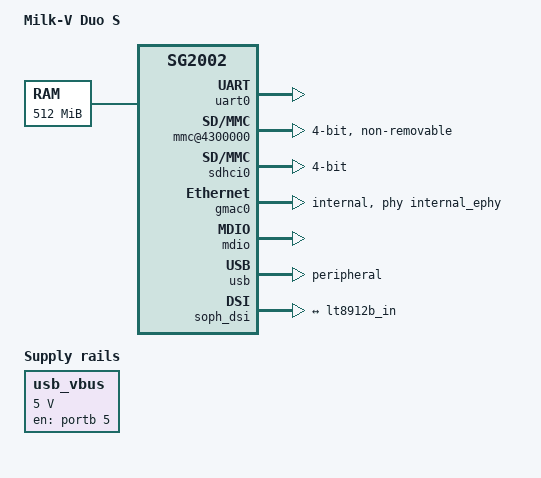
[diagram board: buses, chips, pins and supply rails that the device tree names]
// SPDX-License-Identifier: (GPL-2.0 OR MIT)
/*
 * Device tree for the Milk-V Duo S RISC-V core (Sophgo SG2000, T-Head C906).
 *
 * The SG2000 die is the SG2002 family (cv181x/cv180x) with an added ARM core.
 * From the C906 the SoC is identical to the SG2002. The mainline sg2002.dtsi
 * applies directly.
 *
 * Based on arch/riscv/boot/dts/sophgo/sg2002-licheerv-nano-b.dts.
 *
 * Nodes included (boot-focused):
 *   - uart0: console at ttyS0, 115200n8.
 *   - sdhci0: SD card root (NIXOS_RISCV label), 4-bit bus.
 *   - osc: 25 MHz oscillator (same as LicheeRV Nano).
 *   - memory: overrides the sg2002.dtsi 256MB with 512MB
 *     (0x80000000/0x20000000) to match the firmware memory map.
 *   - Ethernet/gmac0: SG2000 internal EPHY (phy-mode = "internal"). No external
 *     PHY. The dtsi sets phy-handle=<&internal_ephy> and phy-mode="internal";
 *     enable the MAC and MDIO. Mirrors mainline cv1812h-huashan-pi.dts.
 *   - USB: dr_mode = "peripheral" (the usbHost DTB: "host"). VBUS enable is GPIO portb
 *     pin 5 (USB_VBUS_EN); upstream omits the regulator node.
 *
 * Nodes omitted:
 *   - LEDs, GPIO buttons, camera/CSI: not in the mainline sg2002 dtsi.
 *
 * The CPU (thead,c906, rv64imafdc, sv39) comes from cv180x-cpus.dtsi via
 * sg2002.dtsi.
 */

/dts-v1/;
#include "sg2002.dtsi"
#include <dt-bindings/gpio/gpio.h>
#include <dt-bindings/clock/sophgo,cv1800.h>
#include "sg2000-module-01.dtsi"
#include "sg200x-vip.dtsi"
#include "nix-badge.dtsi"
#include "sg200x-riscv.dtsi"

/*
 * Pin IDs and the pin controller.
 *
 * The Duo S carries an SG2000 die, not the SG2002 that sg2002.dtsi assumes.
 * The two packages have different pin tables and are not interchangeable:
 *
 *   pinctrl-sg2002.h   65 QFN pins, flat indices,   no VIVO pads
 *   pinctrl-sg2000.h  110 BGA pins, row/col coords, has VIVO pads
 *
 * For example UART0_TX is 18 on SG2002 but PINPOS('M', 5) on SG2000.
 *
 * SPI3 drives the WS2812 LED ring. The SPI3 pads are VIVO_D5..D8, which the
 * SG2002 table cannot name. Bind the pin controller to the SG2000 driver (see
 * the &pinctrl compatible override below) and give every pinmux an SG2000
 * coordinate. These identifiers match the ARM DTS, so both cores name the pads
 * the same way.
 *
 * Define the pads here rather than include pinctrl-sg2000.h. sg2002.dtsi
 * already includes pinctrl-sg2002.h, and the two headers define the same PIN_*
 * names with different values.
 */
#define PINPOS(row, col)	((((row) - 'A' + 1) << 8) + ((col) - 1))

#define SG2000_UART0_TX		PINPOS('M', 5)
#define SG2000_UART0_RX		PINPOS('M', 4)

#define SG2000_SD0_CLK		PINPOS('L', 1)
#define SG2000_SD0_CMD		PINPOS('L', 3)
#define SG2000_SD0_D0		PINPOS('L', 2)
#define SG2000_SD0_D1		PINPOS('K', 3)
#define SG2000_SD0_D2		PINPOS('M', 2)
#define SG2000_SD0_D3		PINPOS('M', 1)
#define SG2000_SD0_CD		PINPOS('K', 2)

/* eMMC pads, pinctrl-sg2000.h row/col. */
#define SG2000_EMMC_CLK		PINPOS('R', 4)
#define SG2000_EMMC_CMD		PINPOS('R', 3)
#define SG2000_EMMC_DAT0		PINPOS('P', 2)
#define SG2000_EMMC_DAT1		PINPOS('R', 2)
#define SG2000_EMMC_DAT2		PINPOS('P', 3)
#define SG2000_EMMC_DAT3		PINPOS('P', 1)
#define SG2000_EMMC_RSTN		PINPOS('P', 4)

#define SG2000_SD1_CLK		PINPOS('G', 14)
#define SG2000_SD1_CMD		PINPOS('G', 15)
#define SG2000_SD1_D0		PINPOS('H', 15)
#define SG2000_SD1_D1		PINPOS('H', 14)
#define SG2000_SD1_D2		PINPOS('F', 14)
#define SG2000_SD1_D3		PINPOS('G', 13)

/* SPI3 on the 40-pin header: pin19 MOSI, pin21 MISO, pin23 SCK, pin24 CS */
#define SG2000_VIVO_D5		PINPOS('B', 10)
#define SG2000_VIVO_D6		PINPOS('C', 10)
#define SG2000_VIVO_D7		PINPOS('B', 11)
#define SG2000_VIVO_D8		PINPOS('C', 11)

/* SAO connector IIC1 (SDA/SCL) = pads VIVO_D4 / VIVO_D3 = PORTB 17/18. */
#define SG2000_VIVO_D3		PINPOS('A', 10)
#define SG2000_VIVO_D4		PINPOS('D', 10)
/* RJ45 EPHY LED pads (RTC domain): N12 green/LINK, P13 orange/speed. */
#define SG2000_PWR_WAKEUP0	PINPOS('N', 12)
#define SG2000_PWR_BUTTON1	PINPOS('P', 13)

/* HDMI bridge IIC2. Same pads as the ARM DTS names them. */
#define SG2000_IIC2_SCL		PINPOS('J', 13)
#define SG2000_IIC2_SDA		PINPOS('J', 14)

/ {
	model = "Milk-V Duo S";
	compatible = "milkv,duo-s", "sophgo,sg2002";

	aliases {
		serial0 = &uart0;
		/* The SPI core sets bus_num from of_alias_get_id(node, "spi")
		 * and falls back to dynamic numbering when no alias matches
		 * (drivers/spi/spi.c). Without this alias the only enabled
		 * controller takes bus 0 and spidev appears as /dev/spidev0.0. */
		spi3 = &spi3;
	};

	chosen {
		stdout-path = "serial0:115200n8";
	};

	/* Override the sg2002.dtsi 256MB with 512MB to match the firmware memmap. */
	memory@80000000 {
		device_type = "memory";
		reg = <0x80000000 0x20000000>;
	};
};

/* Rebind the pin controller to the SG2000 driver so the VIVO pads exist. The
 * node (pinctrl@3001000) comes from sg2002.dtsi as "sophgo,sg2002-pinctrl".
 * Both drivers use the same register block but a different pin table.
 * CONFIG_PINCTRL_SOPHGO_SG2000 must be enabled in the kernel. */
&pinctrl {
	compatible = "sophgo,sg2000-pinctrl";

	uart0_cfg: uart0-cfg {
		uart0-pins {
			pinmux = <PINMUX(SG2000_UART0_TX, 0)>,
				 <PINMUX(SG2000_UART0_RX, 0)>;
			bias-pull-up;
			drive-strength-microamp = <10800>;
			power-source = <3300>;
		};
	};

	/* SAO IIC1 for the SSD1306 OLED (see &i2c1 in nix-badge.dtsi). VIVO_D4/D3
	 * = PORTB 17/18, IIC1 = pinmux 5 (found empirically on the arm core: mux 5
	 * is the only value where 0x3c ACKs). bias-pull-up enables the pad input
	 * buffer so the controller senses SDA, and parallels the U12 TXS0104E pull. */
	i2c1_cfg: i2c1-cfg {
		i2c1-pins {
			pinmux = <PINMUX(SG2000_VIVO_D4, 5)>, /* SAO SDA, portb 17 */
				 <PINMUX(SG2000_VIVO_D3, 5)>; /* SAO SCL, portb 18 */
			bias-pull-up;
			power-source = <3300>;
		};
	};

	/* IIC2 reaches the LT8912B HDMI bridge at its reset-default mux 0.
	 * External I2C pull-ups live on the badge, so no bias-pull-up. This used
	 * to be ARM-only, the display stack now comes up on both cores, and
	 * without it the riscv side can drive DSI but never programs the bridge. */
	iic2_cfg: iic2-cfg {
		iic2-pins {
			pinmux = <PINMUX(SG2000_IIC2_SCL, 0)>, /* bridge SCL, J13 */
				 <PINMUX(SG2000_IIC2_SDA, 0)>; /* bridge SDA, J14 */
			power-source = <1800>;
		};
	};

	emmc_cfg: emmc-cfg {
		emmc-clk-pins {
			pinmux = <PINMUX(SG2000_EMMC_CLK, 0)>;
			bias-pull-up;
			drive-strength-microamp = <16100>;
			power-source = <3300>;
		};

		emmc-cmd-pins {
			pinmux = <PINMUX(SG2000_EMMC_CMD, 0)>;
			bias-pull-up;
			drive-strength-microamp = <10800>;
			power-source = <3300>;
		};

		emmc-data-pins {
			pinmux = <PINMUX(SG2000_EMMC_DAT0, 0)>,
				 <PINMUX(SG2000_EMMC_DAT1, 0)>,
				 <PINMUX(SG2000_EMMC_DAT2, 0)>,
				 <PINMUX(SG2000_EMMC_DAT3, 0)>;
			bias-pull-up;
			drive-strength-microamp = <10800>;
			power-source = <3300>;
		};

		emmc-rstn-pins {
			pinmux = <PINMUX(SG2000_EMMC_RSTN, 0)>;
			bias-pull-up;
			drive-strength-microamp = <10800>;
			power-source = <3300>;
		};
	};

	sdhci0_cfg: sdhci0-cfg {
		sdhci0-clk-pins {
			pinmux = <PINMUX(SG2000_SD0_CLK, 0)>;
			bias-pull-up;
			drive-strength-microamp = <16100>;
			power-source = <3300>;
		};

		sdhci0-cmd-pins {
			pinmux = <PINMUX(SG2000_SD0_CMD, 0)>;
			bias-pull-up;
			drive-strength-microamp = <10800>;
			power-source = <3300>;
		};

		sdhci0-data-pins {
			pinmux = <PINMUX(SG2000_SD0_D0, 0)>,
				 <PINMUX(SG2000_SD0_D1, 0)>,
				 <PINMUX(SG2000_SD0_D2, 0)>,
				 <PINMUX(SG2000_SD0_D3, 0)>;
			bias-pull-up;
			drive-strength-microamp = <10800>;
			power-source = <3300>;
		};

		sdhci0-cd-pins {
			pinmux = <PINMUX(SG2000_SD0_CD, 0)>;
			bias-pull-up;
			drive-strength-microamp = <10800>;
			power-source = <3300>;
		};
	};

	/* SPI3 for the WS2812 ring, mux 5 on the VIVO pads. Each subnode needs
	 * power-source: the mainline sophgo pinctrl rejects a pinmux subnode
	 * without it and fails pinctrl_bind_pins before dw_spi_mmio_probe runs. */
	spi3_cfg: spi3-cfg {
		/* Match the arm spi3_cfg exactly: no drive-strength (leave SCK/SDO at
		 * default, suits push-pull), bias-pull-up on SDI and the GPIO-mode CS so
		 * the CS pad does not float between transfers (a floating CS gates
		 * garbage into the WS2812 chain through the U10 and gate). */
		spi3-sck-pins {
			pinmux = <PINMUX(SG2000_VIVO_D6, 5)>;
			power-source = <3300>;
		};

		spi3-sdo-pins {
			pinmux = <PINMUX(SG2000_VIVO_D8, 5)>;
			power-source = <3300>;
		};

		spi3-sdi-pins {
			pinmux = <PINMUX(SG2000_VIVO_D7, 5)>;
			bias-pull-up;
			power-source = <3300>;
		};

		/* CS is a GPIO here, not SPI3_CS. Mux 3 is XGPIOB_16; mux 5 would be
		 * SPI3_CS. U10 gates LED_DIN with CS through an and gate and needs CS
		 * active-high, which the native DW CS cannot do. See the cs-gpios comment
		 * on &spi3 (nix-badge.dtsi). */
		spi3-cs-pins {
			pinmux = <PINMUX(SG2000_VIVO_D5, 3)>;
			bias-pull-up;
			power-source = <3300>;
		};
	};
};

/* SPI3 drives the WS2812 LED ring through spidev. cv180x.dtsi already declares
 * the controller (spi@41b0000) with its clocks, interrupt and RST_SPI3 reset;
 * it is only disabled. Enable it below. */
&spi3 {
	/* Slave DMA via the cv1800b dmamux so the CPU no longer hand-refills the SPI
	 * TX FIFO (PIO underruns when a hardirq preempts the refill mid-frame and the
	 * WS2812 chain glitches under load). Cells: TX req 23, RX req 22; the 2nd
	 * dmamux cell is the CPU (1 = C906 on this riscv core, vs 0 = CA53 on arm).
	 * &dmac must use sophgo,cv1800b-axi-dma (ARG0_AS_CHAN) so of_xlate takes the
	 * mux-allocated channel, not the apb_regs handshake path this SoC lacks.
	 * Everything else (num-cs, cs-gpios, pinctrl, spidev@0, the Sharp display@1,
	 * status) is shared in nix-badge.dtsi. */
	dmas = <&dmamux 23 1>, <&dmamux 22 1>;
	dma-names = "tx", "rx";
};

/*
 * GPIO line names, so gpioinfo reads as a wiring diagram instead of a list of
 * numbers.
 *
 * Names only. This sets no direction, no pull and no pad mux, so it cannot
 * change board behaviour. Every consumer still claims its own line.
 *
 * porta and portb are XGPIOA and XGPIOB. The board also uses a porte
 * (PWR_GPIO, the RTC domain block at 0x05021000) for the USER button and the
 * HDMI I2C pads. Mainline has no such controller node and pinctrl-sg2000.h
 * names only PWR_GPIO0..2, so those lines are not representable here.
 */
&porta {
	gpio-line-names =
		"",                  /* 0  CAM_MCLK0 (pin 12, NC) */
		"hdmi-5v-fault-n",   /* 1  U19 /FAULT */
		"", "", "", "", "", "",
		"", "",
		"",                  /* 10 SD_D1 */
		"", "",
		"sd-cd-n",           /* 13 SD card detect */
		"",
		"wifi-poweron",      /* 15 on-module AIC8800 */
		"",                  /* 16 UART0_TX */
		"",
		"jtag-tck",          /* 18 */
		"jtag-tms",          /* 19 */
		"jtag-trst",         /* 20 */
		"", "", "", "", "", "", "",
		"jtag-tdi",          /* 28 v1A datasheet swaps TDI/TDO */
		"jtag-tdo",          /* 29 */
		"usb-5v-fault-n",    /* 30 U5 /FAULT */
		"";
};

&portb {
	gpio-line-names =
		"pwm0-buck",         /* 0 */
		"adc3-j6",           /* 1  SARADC ch3 */
		"adc-vbat",          /* 2  SARADC ch2 */
		"adc-vsel",          /* 3  SARADC ch1 */
		"btn-boot-n",        /* 4  S1, also the ROM recovery strap */
		"usb-host-vbus-en",  /* 5  wired-AND with SERIAL_VBUS */
		"usb-vbus-det",      /* 6 */
		"", "", "", "",
		"core-sel-latch-clk",/* 11 U2 74AUP1G175 CP */
		"core-sel-latch-d",  /* 12 1=ARM, 0=RISC-V on next boot */
		"",                  /* 13 SPI3_SDO, LED chain via U10 */
		"",                  /* 14 SPI3_SDI */
		"",                  /* 15 SPI3_SCK */
		"",                  /* 16 SPI3_CS, gates LED_DIN via U10 */
		"sao-sda",           /* 17 IIC1 through U12 TXS0104E */
		"sao-scl",           /* 18 IIC1 */
		"sao-gpio2",         /* 19 */
		"sao-fault-n",       /* 20 U13 /FAULT */
		"sao-power-en",      /* 21 U13 EN + U12 OE */
		"sd-fault-n",        /* 22 U8 /FAULT */
		"core-sel-strap",    /* 23 readback: 1=RISC-V, 0=ARM */
		"", "", "", "", "", "", "", "";
};

/* Console UART */
&uart0 {
	pinctrl-0 = <&uart0_cfg>;
	pinctrl-names = "default";
	status = "okay";
};

/* Internal eMMC (mmc@4300000): the eMMC root medium, same shape as the arm DTS. The
 * mainline node has no pinctrl; mux 0 is the eMMC function on all seven pads. */
&{/soc/mmc@4300000} {
	pinctrl-0 = <&emmc_cfg>;
	pinctrl-names = "default";
	bus-width = <4>;
	no-1-8-v;
	cap-mmc-hw-reset;
	no-sd;
	no-sdio;
	non-removable;
	status = "okay";
};

/* SD card (rootfs on NIXOS_RISCV label) */
&sdhci0 {
	pinctrl-0 = <&sdhci0_cfg>;
	pinctrl-names = "default";
	bus-width = <4>;
	no-1-8-v;
	no-mmc;
	no-sdio;
	disable-wp;
	status = "okay";
};

/* On-chip 10/100 Ethernet: SG2000 internal EPHY to the RJ45 magnetics, no
 * external PHY. Set phy-mode = "internal" with the internal EPHY handle and
 * enable the MAC and MDIO. Mirrors mainline cv1812h-huashan-pi.dts.
 * Note: mainline 7.0.x has no driver to power or init the internal EPHY, so
 * eth0 registers but does not link until the EPHY is initialized (in U-Boot or
 * a kernel driver). The DT is ready for that. */
&gmac0 {
	status = "okay";
	phy-mode = "internal";
	phy-handle = <&internal_ephy>;

	/* Claim the RJ45 link/speed LED pads at MAC probe, they are the internal
	 * EPHY's own hardware LED outputs. See ephy_led_cfg below (and the ARM DTS
	 * for the full mechanism/root-cause). */
	pinctrl-names = "default";
	pinctrl-0 = <&ephy_led_cfg>;
};

/*
 * RJ45 LED indication: the two jack LEDs are the internal EPHY's hardware LED
 * outputs on RTC-domain pads N12 (green/LINK = EPHY_LNK_LED) and P13 (orange/
 * speed = EPHY_SPD_LED), buffered by NMOS (lit = pad high). Unmuxed, they sit
 * at their fsel-0 reset pulls (N12 down -> green off, P13 up -> orange solid),
 * which is the observed fault. fsel 6 hands each pad to its EPHY LED function;
 * power-source = 1800 is mandatory (IO_TYPE_1V8_ONLY RTC pads, omitting it
 * -EINVALs the whole state and would fail gmac0 probe). See the ARM DTS for why
 * a `leds` subnode / vendor LED-mode / gpio-leds are all unavailable here.
 */
&pinctrl {
	ephy_led_cfg: ephy-led-cfg {
		ephy-led-pins {
			pinmux = <PINMUX(SG2000_PWR_WAKEUP0, 6)>, /* N12 -> EPHY_LNK_LED (green/LINK)  */
				 <PINMUX(SG2000_PWR_BUTTON1, 6)>; /* P13 -> EPHY_SPD_LED (orange/SPEED) */
			power-source = <1800>;
		};
	};
};

&mdio {
	status = "okay";
};

/*
 * USB: SG2002/SG2000 DWC2 OTG core on the Type-C debug/power port (where the
 * DWC2 D+/D- actually come out). dr_mode = "otg" (was "host"); see the ARM
 * DTS for the full rationale. The port's role is software-selected via
 * USB_DATA_HOST = USB_VBUS_EN = portb 5 (usb_vbus below): sourcing VBUS (VBUS_EN
 * high) is the only way the badge can be host, so VBUS_EN low = device. usb_vbus
 * is therefore not regulator-boot-on, VBUS_EN starts low, the port defaults to
 * device (the CDC-NCM gadget), and a host on a C-to-C cable is the only 5V
 * present so dwc2 comes up B-device and enumerates. It stays vbus-supply of &usb
 * so dwc2 can raise VBUS_EN for host mode on a later role toggle, not at boot.
 */
/ {
	usb_vbus: regulator-usb-vbus {
		compatible = "regulator-fixed";
		regulator-name = "usb-vbus";
		regulator-min-microvolt = <5000000>;
		regulator-max-microvolt = <5000000>;
		gpio = <&portb 5 GPIO_ACTIVE_HIGH>;
		enable-active-high;
	};
};

/*
 * USB: dr_mode = "peripheral", pure device, the only stable config on
 * this board. dr_mode="otg" is unusable here: any role switch (an autonomous
 * gpio-usb-b-connector OR a manual `echo device > .../role`) makes dwc2's OTG
 * state machine churn, because USB_VBUS_DET is self-referential to USB_VBUS_EN,
 * and kworker/u4 (the dwc2 OTG work) soft-locks CPU#0, bench-proven three
 * times. In "peripheral" dwc2 has no host controller and no OTG state machine,
 * never sources VBUS (usb_vbus regulator has no consumer -> USB_VBUS_EN stays
 * low), and its own PHY VBUS comparator sees only an external host's VBUS: plug
 * the Type-C into a PC and the CDC-NCM gadget (nix-badge-usb-gadget) enumerates
 * automatically; unplug and it idles. Trade-off: this port can never be a USB
 * host. Making it switchable would need an independent host-detect signal (a
 * Type-C CC pin on its own GPIO, say) to break the VBUS self-reference, check
 * the schematic; not wired to the driver today.
 */
&usb {
	dr_mode = "peripheral";
	status = "okay";
};

/*
 * WiFi SDIO bus pads. The mmc@4320000 controller uses the SD1 pads
 * (SG2000_SD1_*, mux 0 = SDIO1, same scheme as the SD0 pads for the card).
 * Without this mux the pads stay on their default function and the AIC8800
 * never answers the SDIO probe.
 */
&pinctrl {
	sdhci1_cfg: sdhci1-cfg {
		/* 1.8V pads. The AIC8800 VIO is fixed 1.8V; sdhci-cv181x drives the rail. */
		sdhci1-clk-pins {
			pinmux = <PINMUX(SG2000_SD1_CLK, 0)>;
			bias-pull-up;
			drive-strength-microamp = <16100>;
			power-source = <1800>;
		};

		sdhci1-cmd-pins {
			pinmux = <PINMUX(SG2000_SD1_CMD, 0)>;
			bias-pull-up;
			drive-strength-microamp = <10800>;
			power-source = <1800>;
		};

		sdhci1-data-pins {
			pinmux = <PINMUX(SG2000_SD1_D0, 0)>,
				 <PINMUX(SG2000_SD1_D1, 0)>,
				 <PINMUX(SG2000_SD1_D2, 0)>,
				 <PINMUX(SG2000_SD1_D3, 0)>;
			bias-pull-up;
			drive-strength-microamp = <10800>;
			power-source = <1800>;
		};
	};
};

/*
 * VIP display interrupts. Per-arch, so they live in the leaf .dts
 * rather than the shared dtsi: the A53 routes these through the GIC, the C906
 * through the PLIC.
 *
 * The vendor cv181x_base_arm.dtsi gives the scaler IRQ as GIC_SPI 9. Mainline
 * spells the same SoC peripheral number two ways, arm64/sophgo/sg2000.dtsi
 * defines SOC_PERIPHERAL_IRQ(nr) as GIC_SPI (nr), riscv sg2002.dtsi as
 * ((nr) + 16), so SoC IRQ 9 is PLIC source 25 here. (Cross-checked against
 * i2c0, which is GIC_SPI 33 in the vendor tree and SOC_PERIPHERAL_IRQ(33) in
 * mainline.)
 *
 * Without this, vpss's _init_resources() fails platform_get_irq_byname(pdev,
 * "sc"), returns -ENODEV, and probe carries on to dereference a NULL scaler
 * register base.
 */
&cvi_vpss {
	interrupts = <25 IRQ_TYPE_LEVEL_HIGH>;
	interrupt-names = "sc";
};

/*
 * Video-codec interrupts, the riscv half of the split described on
 * &cvi_vpss above: sg2002.dtsi defines SOC_PERIPHERAL_IRQ(nr) as ((nr) + 16),
 * so the vendor's arm GIC_SPI 6/5/7 and 4 become PLIC 22/21/23 and 20.
 * cviCfgIrq() resolves them by name, so the names are what matter.
 */
&vcodec {
	interrupts = <22 IRQ_TYPE_LEVEL_HIGH>,
		     <21 IRQ_TYPE_LEVEL_HIGH>,
		     <23 IRQ_TYPE_LEVEL_HIGH>;
	interrupt-names = "h265", "h264", "sbm";
};

&jpu {
	interrupts = <20 IRQ_TYPE_LEVEL_HIGH>;
	interrupt-names = "jpeg";
};

/*
 * IIS2 to the LT8912B. Same three pads as the ARM side, but expressed
 * with this file's own PINPOS macros: the riscv build uses the sg2002
 * pinctrl header, where pins are flat indices rather than SG2000 row/column
 * coordinates (PIN_AUD_AINL_MIC is 2 on sg2002 and PINPOS('H',1) on sg2000).
 *
 * No dmas override here, the inherited cell (1 = DMA_CPU_C906_0) is already
 * correct for this core.
 */
#define SG2000_AUD_AINL_MIC	PINPOS('H', 1)
#define SG2000_AUD_AOUTL		PINPOS('F', 2)
#define SG2000_AUD_AOUTR		PINPOS('G', 2)

&pinctrl {
	iis2_cfg: iis2-cfg {
		iis2-pins {
			pinmux = <PINMUX(SG2000_AUD_AINL_MIC, 5)>, /* IIS2_BCLK -> U16.60 */
				 <PINMUX(SG2000_AUD_AOUTL,    5)>, /* IIS2_LRCK -> U16.59 */
				 <PINMUX(SG2000_AUD_AOUTR,    5)>; /* IIS2_DO   -> U16.58 */
			power-source = <1800>;
		};
	};
};

/*
 * The DSI host soph_drm registers, and the graph edge the HDMI bridge
 * attaches to. Same node as the ARM tree's: it owns no registers (the DISP
 * and DSI MAC blocks belong to cv181x_vpss, which soph_drm drives through
 * that driver's exported helpers) and has no interrupts or clocks, so nothing
 * in it is arch-specific. It exists for identity: a mipi_dsi_host is found by
 * its of_node, so without it the bridge has nothing to attach to.
 *
 * data-lanes = <1 2>: two lanes. The D2/D3 differential pair is dead on
 * this board, and four locks sync but shows nothing.
 */
&{/soc} {
	soph_dsi: dsi {
		compatible = "badge,sg2000-soph-dsi";
		status = "okay";

		ports {
			#address-cells = <1>;
			#size-cells = <0>;

			port@0 {
				reg = <0>;
				soph_dsi_out: endpoint {
					data-lanes = <1 2>;
					remote-endpoint = <&lt8912b_in>;
				};
			};
		};
	};
};

/*
 * LT8912B DSI->HDMI bridge on i2c2 and the HDMI connector it drives. The
 * bus is enabled in nix-badge.dtsi with this file's iic2_cfg (mux 0); the
 * vendor mipi_tx/vo panel GPIOs that would re-mux those pads stay out of the
 * tree. The bridge is status="disabled" here, re-enabled by the usbHost DTB.
 */
#include "lt8912b-bridge.dtsi"
